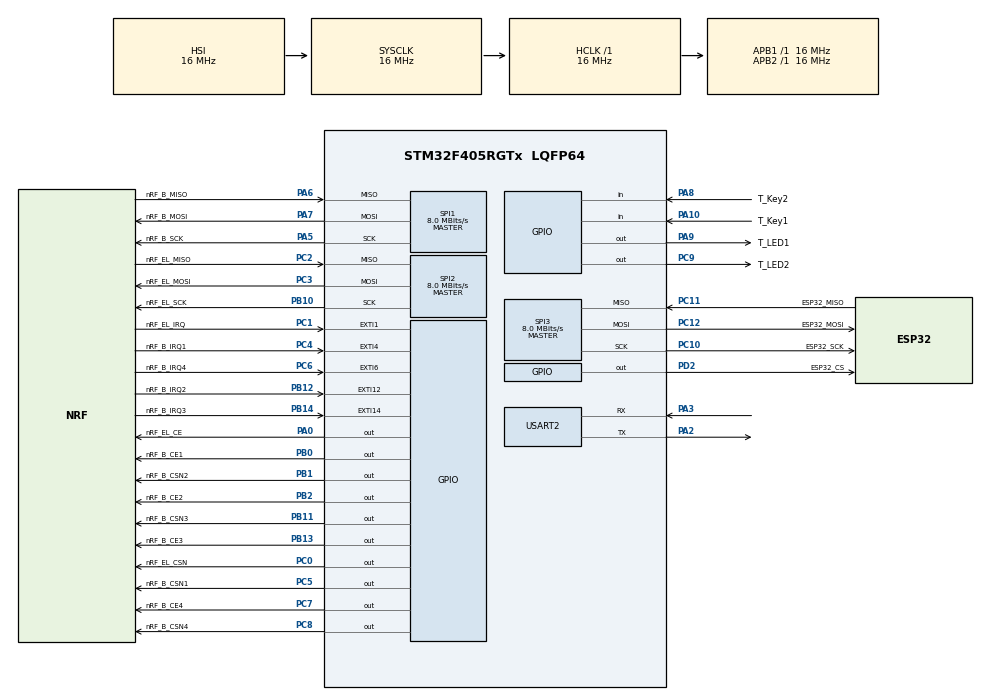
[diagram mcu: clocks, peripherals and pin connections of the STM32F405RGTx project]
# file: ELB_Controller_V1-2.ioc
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Mcu.Family=STM32F4
Mcu.Name=STM32F405RGTx
Mcu.Package=LQFP64
NVIC.EXTI15_10_IRQn=true\:0\:0\:false\:false\:true\:true\:true\:true
NVIC.EXTI1_IRQn=true\:0\:0\:false\:false\:true\:true\:true\:true
NVIC.EXTI4_IRQn=true\:0\:0\:false\:false\:true\:true\:true\:true
NVIC.EXTI9_5_IRQn=true\:0\:0\:false\:false\:true\:true\:true\:true
NVIC.PriorityGroup=NVIC_PRIORITYGROUP_4
NVIC.SPI3_IRQn=true\:0\:0\:false\:false\:true\:true\:true\:true
PA0-WKUP.GPIO_Label=nRF_EL_CE
PA0-WKUP.GPIO_Speed=GPIO_SPEED_FREQ_HIGH
PA0-WKUP.Signal=GPIO_Output
PA10.GPIO_Label=T_Key1
PA10.GPIO_PuPd=GPIO_PULLDOWN
PA10.Signal=GPIO_Input
PA13.Mode=JTAG_5_pins
PA13.Signal=SYS_JTMS-SWDIO
PA14.Mode=JTAG_5_pins
PA14.Signal=SYS_JTCK-SWCLK
PA15.Mode=JTAG_5_pins
PA15.Signal=SYS_JTDI
PA2.Mode=Asynchronous
PA2.Signal=USART2_TX
PA3.Mode=Asynchronous
PA3.Signal=USART2_RX
PA5.GPIO_Label=nRF_B_SCK
PA5.Mode=Full_Duplex_Master
PA5.Signal=SPI1_SCK
PA6.GPIO_Label=nRF_B_MISO
PA6.Mode=Full_Duplex_Master
PA6.Signal=SPI1_MISO
PA7.GPIO_Label=nRF_B_MOSI
PA7.Mode=Full_Duplex_Master
PA7.Signal=SPI1_MOSI
PA8.GPIO_Label=T_Key2
PA8.GPIO_PuPd=GPIO_PULLDOWN
PA8.Signal=GPIO_Input
PA9.GPIO_Label=T_LED1
PA9.Signal=GPIO_Output
PB0.GPIO_Label=nRF_B_CE1
PB0.GPIO_Speed=GPIO_SPEED_FREQ_HIGH
PB0.Signal=GPIO_Output
PB1.GPIO_Label=nRF_B_CSN2
PB1.GPIO_Speed=GPIO_SPEED_FREQ_HIGH
PB1.PinState=GPIO_PIN_SET
PB1.Signal=GPIO_Output
PB10.GPIO_Label=nRF_EL_SCK
PB10.Mode=Full_Duplex_Master
PB10.Signal=SPI2_SCK
PB11.GPIO_Label=nRF_B_CSN3
PB11.GPIO_Speed=GPIO_SPEED_FREQ_HIGH
PB11.PinState=GPIO_PIN_SET
PB11.Signal=GPIO_Output
PB12.GPIO_Label=nRF_B_IRQ2
PB12.GPIO_ModeDefaultEXTI=GPIO_MODE_IT_FALLING
PB12.Signal=GPXTI12
PB13.GPIO_Label=nRF_B_CE3
PB13.GPIO_Speed=GPIO_SPEED_FREQ_HIGH
PB13.PinState=GPIO_PIN_RESET
PB13.Signal=GPIO_Output
PB14.GPIO_Label=nRF_B_IRQ3
PB14.GPIO_ModeDefaultEXTI=GPIO_MODE_IT_FALLING
PB14.Signal=GPXTI14
PB2.GPIO_Label=nRF_B_CE2
PB2.GPIO_Speed=GPIO_SPEED_FREQ_HIGH
PB2.Signal=GPIO_Output
PB3.Mode=JTAG_5_pins
PB3.Signal=SYS_JTDO-SWO
PB4.Mode=JTAG_5_pins
PB4.Signal=SYS_JTRST
PC0.GPIO_Label=nRF_EL_CSN
PC0.GPIO_Speed=GPIO_SPEED_FREQ_HIGH
PC0.PinState=GPIO_PIN_SET
PC0.Signal=GPIO_Output
PC1.GPIO_Label=nRF_EL_IRQ
PC1.GPIO_ModeDefaultEXTI=GPIO_MODE_IT_FALLING
PC1.Signal=GPXTI1
PC10.GPIO_Label=ESP32_SCK
PC10.Mode=Full_Duplex_Master
PC10.Signal=SPI3_SCK
PC11.GPIO_Label=ESP32_MISO
PC11.Mode=Full_Duplex_Master
PC11.Signal=SPI3_MISO
PC12.GPIO_Label=ESP32_MOSI
PC12.Mode=Full_Duplex_Master
PC12.Signal=SPI3_MOSI
PC2.GPIO_Label=nRF_EL_MISO
PC2.Mode=Full_Duplex_Master
PC2.Signal=SPI2_MISO
PC3.GPIO_Label=nRF_EL_MOSI
PC3.Mode=Full_Duplex_Master
PC3.Signal=SPI2_MOSI
PC4.GPIO_Label=nRF_B_IRQ1
PC4.GPIO_ModeDefaultEXTI=GPIO_MODE_IT_FALLING
PC4.Signal=GPXTI4
PC5.GPIO_Label=nRF_B_CSN1
PC5.GPIO_Speed=GPIO_SPEED_FREQ_HIGH
PC5.PinState=GPIO_PIN_SET
PC5.Signal=GPIO_Output
PC6.GPIO_Label=nRF_B_IRQ4
PC6.GPIO_ModeDefaultEXTI=GPIO_MODE_IT_FALLING
PC6.Signal=GPXTI6
PC7.GPIO_Label=nRF_B_CE4
PC7.GPIO_Speed=GPIO_SPEED_FREQ_HIGH
PC7.Signal=GPIO_Output
PC8.GPIO_Label=nRF_B_CSN4
PC8.GPIO_Speed=GPIO_SPEED_FREQ_HIGH
PC8.PinState=GPIO_PIN_SET
PC8.Signal=GPIO_Output
PC9.GPIO_Label=T_LED2
PC9.Signal=GPIO_Output
PD2.GPIO_Label=ESP32_CS
PD2.GPIO_Speed=GPIO_SPEED_FREQ_HIGH
PD2.Signal=GPIO_Output
PH0-OSC_IN.Mode=HSE-External-Oscillator
PH0-OSC_IN.Signal=RCC_OSC_IN
PH1-OSC_OUT.Mode=HSE-External-Oscillator
PH1-OSC_OUT.Signal=RCC_OSC_OUT
ProjectManager.HeapSize=0x200
ProjectManager.StackSize=0x400
ProjectManager.TargetToolchain=STM32CubeIDE
RCC.AHBFreq_Value=16000000
RCC.APB1Freq_Value=16000000
RCC.APB2Freq_Value=16000000
RCC.CortexFreq_Value=16000000
RCC.HSE_VALUE=25000000
RCC.HSI_VALUE=16000000
RCC.LSE_VALUE=32768
RCC.SYSCLKFreq_VALUE=16000000
RCC.VCOOutputFreq_Value=192000000
SPI1.CalculateBaudRate=8.0 MBits/s
SPI1.Direction=SPI_DIRECTION_2LINES
SPI1.Mode=SPI_MODE_MASTER
SPI1.VirtualType=VM_MASTER
SPI2.CalculateBaudRate=8.0 MBits/s
SPI2.Direction=SPI_DIRECTION_2LINES
SPI2.Mode=SPI_MODE_MASTER
SPI2.VirtualType=VM_MASTER
SPI3.CalculateBaudRate=8.0 MBits/s
SPI3.Direction=SPI_DIRECTION_2LINES
SPI3.Mode=SPI_MODE_MASTER
SPI3.VirtualType=VM_MASTER
USART2.VirtualMode=VM_ASYNC
board=custom

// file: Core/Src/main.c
/* USER CODE BEGIN Header */
/**
  ******************************************************************************
  * @file           : main.c
  * @brief          : Main program body
  ******************************************************************************
  * @attention
  *
  * Copyright (c) 2023 STMicroelectronics.
  * All rights reserved.
  *
  * This software is licensed under terms that can be found in the LICENSE file
  * in the root directory of this software component.
  * If no LICENSE file comes with this software, it is provided AS-IS.
  *
  ******************************************************************************
  */
/* USER CODE END Header */
#include "main.h"

/* USER CODE BEGIN Includes */
#include "nrf24_ELBC.h"
#include <string.h>
#include <stdio.h>
/* USER CODE END Includes */

SPI_HandleTypeDef Button_hspi1;
SPI_HandleTypeDef EL_hspi2;
SPI_HandleTypeDef ESP32_hspi3;

UART_HandleTypeDef huart2;

void SystemClock_Config(void);
static void MX_GPIO_Init(void);
static void MX_SPI1_Init(void);
static void MX_SPI2_Init(void);
static void MX_SPI3_Init(void);
static void MX_USART2_UART_Init(void);
/* USER CODE BEGIN PFP */
void EdgeLED_Color(uint8_t Button_Number, uint8_t Green, uint8_t Red, uint8_t Blue, uint8_t *Packet);

/* USER CODE END PFP */

/* USER CODE BEGIN 0 */

uint8_t Config_table[38][4] = {
		//ID,Channel,Pipe,Module
		{ 1,  100, 0, 1 },
		{ 2,  100, 1, 1 },
		{ 3,  100, 2, 1 },
		{ 4,  100, 3, 1 },
		{ 5,  100, 4, 1 },
		{ 6,  100, 5, 1 },
		{ 7,  101, 0, 2 },
		{ 8,  101, 1, 2 },
		{ 9,  101, 2, 2 },
		{ 10, 101, 3, 2 },
		{ 11, 101, 4, 2 },
		{ 12, 101, 5, 2 },
		{ 13, 102, 0, 3 },
		{ 14, 102, 1, 3 },
		{ 15, 102, 2, 3 },
		{ 16, 102, 3, 3 },
		{ 17, 102, 4, 3 },
		{ 18, 102, 5, 3 },
		{ 19, 103, 0, 4 },
		{ 20, 103, 1, 4 },
		{ 21, 103, 2, 4 },
		{ 22, 103, 3, 4 },
		{ 23, 103, 4, 4 },
		{ 24, 103, 5, 4 },
		{ 25, 104, 0, 1 },
		{ 26, 104, 1, 1 },
		{ 27, 104, 2, 1 },
		{ 28, 104, 3, 1 },
		{ 29, 104, 5, 1 },
		{ 30, 104, 0, 1 },
		{ 31, 105, 1, 2 },
		{ 32, 105, 2, 2 },
		{ 33, 105, 3, 2 },
		{ 34, 105, 4, 2 },
		{ 35, 105, 0, 2 },
		{ 36, 105, 1, 2 },
		{ 37, 106, 2, 3 },
		{ 38, 106, 3, 3 }
};

uint8_t Module1_Packet[6][16];
uint8_t Module2_Packet[6][16];
uint8_t Module3_Packet[6][16];
uint8_t Module4_Packet[6][16];
uint8_t Button_Packet_Size = 16;
uint8_t EdgeLED_Packet[20];
uint8_t EdgeLED_Packet_Size = 20;
uint8_t ESP32_Packet[8];
uint8_t ESP32_Packet_Size = 8;

uint8_t TxAddr_B_Module1[5] = {0x00,0x34,0x36,0x52,0x53};
uint8_t RxAddr_B_Module1[5] = {0x00,0x34,0x36,0x52,0x53};

uint8_t TxAddr_B_Module2[5] = {0x00,0x34,0x36,0x52,0x53};
uint8_t RxAddr_B_Module2[5] = {0x00,0x34,0x36,0x52,0x53};

uint8_t TxAddr_B_Module3[5] = {0x00,0x34,0x36,0x52,0x53};
uint8_t RxAddr_B_Module3[5] = {0x00,0x34,0x36,0x52,0x53};

uint8_t TxAddr_B_Module4[5] = {0x00,0x34,0x36,0x52,0x53};
uint8_t RxAddr_B_Module4[5] = {0x00,0x34,0x36,0x52,0x53};

uint8_t TxAddr_EL_Module[5] = {0x00,0x4C,0x45,0x52,0x53};
uint8_t RxAddr_EL_Module[5] = {0x00,0x4C,0x45,0x52,0x53};

uint8_t RF_Channel_Module1 = 0;
uint8_t RF_Channel_Module2 = 0;
uint8_t RF_Channel_Module3 = 0;
uint8_t RF_Channel_Module4 = 0;
uint8_t RF_Channel_EL_Module = 1;
uint8_t Uart_Cmd = 0;
uint8_t Temp10 = 0;
uint8_t Pipe_Num=0;

uint8_t Key_Pressed=0;

uint8_t Data_In_Module1 = 0;
uint8_t Data_In_Module2 = 0;
uint8_t Data_In_Module3 = 0;
uint8_t Data_In_Module4 = 0;

uint8_t Module1_Button_Number=0;
uint8_t Module2_Button_Number=0;
uint8_t Module3_Button_Number=0;
uint8_t Module4_Button_Number=0;

uint8_t Payload_available = 0;
uint8_t Module1_Packet_Count = 0;
uint8_t Module2_Packet_Count = 0;
uint8_t Module3_Packet_Count = 0;
uint8_t Module4_Packet_Count = 0;
uint8_t temp,temp2;
uint8_t Rec_Button_Number = 255;

#ifdef Timing_Test
uint32_t interrupt_time1 = 0;
uint32_t interrupt_time2 = 0;
uint32_t time1 = 0;
uint32_t time2 = 0;
uint32_t time3 = 0;
uint32_t time4 = 0;
uint32_t time_2_1 = 0;
uint32_t time_3_2 = 0;
uint32_t key1_time1 = 0;
uint32_t key1_time2 = 0;
uint32_t key2_time1 = 0;
uint32_t key2_time2 = 0;
uint32_t key3_time1 = 0;
uint32_t key3_time2 = 0;
uint32_t key4_time1 = 0;
uint32_t key4_time2 = 0;
uint32_t key1_time = 0;
uint32_t key2_time = 0;
uint32_t key3_time = 0;
uint32_t key4_time = 0;
uint32_t interrupt_time = 0;
uint32_t time_total = 0;
uint32_t ADC_time1 = 0;
uint32_t ADC_time2 = 0;
uint32_t interrupt_counter = 0;
#endif

/*
void HAL_SPI_RxCpltCallback(SPI_HandleTypeDef *hspi)
{
  // This is the interrupt callback function for SPI receive complete event
  // It will be called whenever new data is received

  // Read the received data from the SPI data register
  for (int i = 0; i < 8; i++)
  {
    ESP32_receivedData[i] = HAL_SPI_Receive(&hspi, receivedData, 8, 100);
  }
}
*/

void EdgeLED_Color(uint8_t Button_Number, uint8_t Green, uint8_t Red, uint8_t Blue, uint8_t *Packet)
{
	//Packet[0]=Button_Number;
	Packet[0] = Button_Number;
	Packet[1] = Green;
	Packet[2] = Red;
	Packet[3] = Blue;

	nRF24_Transmit(Sel_EL_Module, Packet, EdgeLED_Packet_Size);
	nRF24_Transmit(Sel_EL_Module, Packet, EdgeLED_Packet_Size);
#ifdef Debug
	nRF24_Transmit_Report(Sel_EL_Module);
#endif
}

//Interrupt handler to check which module has new packet
void HAL_GPIO_EXTI_Callback(uint16_t GPIO_Pin)
{
	interrupt_time1 = HAL_GetTick();
	if (GPIO_Pin == nRF_B_IRQ1_Pin)
	{

#ifdef Debug
		HAL_UART_Transmit(&huart2, (uint8_t *)"Data received in Button module1\n\n",33, HAL_MAX_DELAY);
#endif
		Data_In_Module1 = 1;
	}
	if (GPIO_Pin == nRF_B_IRQ2_Pin)
	{
#ifdef Debug
		HAL_UART_Transmit(&huart2, (uint8_t *)"Data received in Button module2\n\n",33, HAL_MAX_DELAY);
#endif
		Data_In_Module2 = 1;
	  }
	if (GPIO_Pin == nRF_B_IRQ3_Pin)
	{
#ifdef Debug
	    HAL_UART_Transmit(&huart2, (uint8_t *)"Data received in Button module3\n\n",33, HAL_MAX_DELAY);
#endif
		Data_In_Module3 = 1;
	}
	if (GPIO_Pin == nRF_B_IRQ4_Pin)
	{
#ifdef Debug
		HAL_UART_Transmit(&huart2, (uint8_t *)"Data received in Button module4\n\n",33, HAL_MAX_DELAY);
#endif
		Data_In_Module4 = 1;
	}
	interrupt_time2 = HAL_GetTick();
}

/* USER CODE END 0 */

int main(void)
{

  /* MCU Configuration--------------------------------------------------------*/

  /* Reset of all peripherals, Initializes the Flash interface and the Systick. */
  HAL_Init();

  /* Configure the system clock */
  SystemClock_Config();

  /* Initialize all configured peripherals */
  MX_GPIO_Init();
  MX_SPI1_Init();
  MX_SPI2_Init();
  MX_SPI3_Init();
  MX_USART2_UART_Init();
  /* USER CODE BEGIN 2 */

  //RF Modules address and frequency channel configuration
  TxAddr_B_Module1[0] = Config_table[0][0];
  RxAddr_B_Module1[0] = Config_table[0][0];
  TxAddr_B_Module2[0] = Config_table[6][0];
  RxAddr_B_Module2[0] = Config_table[6][0];
  TxAddr_B_Module3[0] = Config_table[12][0];
  RxAddr_B_Module3[0] = Config_table[12][0];
  TxAddr_B_Module4[0] = Config_table[18][0];
  RxAddr_B_Module4[0] = Config_table[18][0];
  RF_Channel_Module1 = Config_table[0][1];
  RF_Channel_Module2 = Config_table[6][1];
  RF_Channel_Module3 = Config_table[12][1];
  RF_Channel_Module4 = Config_table[18][1];

  nRF24_Reset(Sel_B_Module1,nRF24_REG_STATUS);
  nRF24_Reset(Sel_B_Module2,nRF24_REG_STATUS);
  nRF24_Reset(Sel_B_Module3,nRF24_REG_STATUS);
  nRF24_Reset(Sel_B_Module4,nRF24_REG_STATUS);
  nRF24_Reset(Sel_EL_Module,nRF24_REG_STATUS);

  nRF24_Module_Setup(Sel_B_Module1, Receiver_Mode_noAA_noCRC,
		  RF_Channel_Module1, TxAddr_B_Module1, RxAddr_B_Module1,
		  MBPS1_0dBm, Button_Packet_Size);
  nRF24_Power(Sel_B_Module1, Power_Up);
  nRF24_CE_Enable(Sel_B_Module1);
  nRF24_Module_Setup(Sel_B_Module2, Receiver_Mode_noAA_noCRC,
		  RF_Channel_Module2, TxAddr_B_Module2, RxAddr_B_Module2,
		  MBPS1_0dBm, Button_Packet_Size);
  nRF24_Power(Sel_B_Module2, Power_Up);
  nRF24_CE_Enable(Sel_B_Module2);
  nRF24_Module_Setup(Sel_B_Module3, Receiver_Mode_noAA_noCRC,
		  RF_Channel_Module3, TxAddr_B_Module3, RxAddr_B_Module3,
		  MBPS1_0dBm, Button_Packet_Size);
  nRF24_Power(Sel_B_Module3, Power_Up);
  nRF24_CE_Enable(Sel_B_Module3);
  nRF24_Module_Setup(Sel_B_Module4, Receiver_Mode_noAA_noCRC,
		  RF_Channel_Module4, TxAddr_B_Module4, RxAddr_B_Module4,
		  MBPS1_0dBm, Button_Packet_Size);
  nRF24_Power(Sel_B_Module4, Power_Up);
  nRF24_CE_Enable(Sel_B_Module4);
  nRF24_Module_Setup(Sel_EL_Module, Transmitter_Mode_noAA_noCRC,
		  RF_Channel_EL_Module, TxAddr_EL_Module, RxAddr_EL_Module,
		  MBPS1_0dBm, EdgeLED_Packet_Size);
  nRF24_Power(Sel_EL_Module, Power_Up);
  nRF24_CE_Enable(Sel_EL_Module);

#ifdef Debug
  nRF24_Register_Display(Sel_B_Module1);
  nRF24_Register_Display(Sel_B_Module2);
  nRF24_Register_Display(Sel_B_Module3);
  nRF24_Register_Display(Sel_B_Module4);
  nRF24_Register_Display(Sel_EL_Module);
#endif

  /* USER CODE END 2 */

  /* Infinite loop */
  /* USER CODE BEGIN WHILE */
  while (1)
  {
#ifdef Timing_Test
	  time1 = HAL_GetTick();
#endif
	  if(HAL_UART_Receive(&huart2, &Uart_Cmd, 1, 10) == HAL_OK)
	  {
		  if(Uart_Cmd == 'W')
		  {
			  EdgeLED_Color(1, 255, 255, 255, EdgeLED_Packet);
			  HAL_UART_Transmit(&huart2, (uint8_t*)"\nWHITE\n",7, 10);
		  }
		  if(Uart_Cmd == 'R')
		  {
			  EdgeLED_Color(1, 0, 255, 0, EdgeLED_Packet);
			  HAL_UART_Transmit(&huart2, (uint8_t*)"\nRED\n",5, 10);
		  }
		  if(Uart_Cmd == 'B')
		  {
			  EdgeLED_Color(1, 0, 0, 255, EdgeLED_Packet);
			  HAL_UART_Transmit(&huart2, (uint8_t*)"\nBLUE\n",6, 10);
		  }
		  if(Uart_Cmd == 'G')
		  {
			  EdgeLED_Color(1, 255, 0, 0, EdgeLED_Packet);
			  HAL_UART_Transmit(&huart2, (uint8_t*)"\nGREEN\n",7, 10);
		  }
	  }
#ifdef Timing_Test
	  time2 = HAL_GetTick();
#endif
	  if (__HAL_SPI_GET_FLAG(&ESP32_hspi3, SPI_FLAG_RXNE))
	  {
	      // Read the received data from the SPI data register
		  HAL_SPI_Receive(&ESP32_hspi3, ESP32_Packet, ESP32_Packet_Size, 100);
	  }
#ifdef Timing_Test
	  time3 = HAL_GetTick();
#endif

	  if (Data_In_Module1 == 1)
	  {
		  key1_time1 = HAL_GetTick();
#ifdef Debug
		  nRF24_Receive_Report(Sel_B_Module1);
#endif
		  Module1_Packet_Count = 0;

		  uint8_t Data_In_RX_FIFO = 1;
		  //Reading the received packet in FIFO
		  //Checking the status of first bit of FIFO_STATUS
		  while(Data_In_RX_FIFO == 1)
		  {
			  uint8_t FIFO_Reg = nRF24_ReadReg(Sel_B_Module1, nRF24_REG_FIFO_STATUS);
			  if((FIFO_Reg & 1) == 0)
			  {
				  nRF24_Receive(Sel_B_Module1, Module1_Packet[Module1_Packet_Count], Button_Packet_Size);
				  Module1_Packet_Count++;
			  }
			  else
			  {
				  Data_In_RX_FIFO = 0;
			  }
		  }
		  //Printing the received packets
#ifdef Debug
		  HAL_UART_Transmit(&huart2, (uint8_t*)"**********************\n",23, 100);
		  HAL_UART_Transmit(&huart2, (uint8_t*)"Module1 Data:\n",13, 1000);
		  for (uint8_t i = 0; i < Module1_Packet_Count; i++)
		  {
			  HAL_UART_Transmit(&huart2, (uint8_t*)"*****\n", 6, 1000);
			  // Convert RxData elements to char and print
			  for (uint8_t j = 0; j < Button_Packet_Size; j++)
			  {
			      char buffer[4];  // Buffer to hold the converted string
			      sprintf(buffer, "%d", Module1_Packet[i][j]);  // Convert integer to string

			      HAL_UART_Transmit(&huart2, (uint8_t*)buffer, strlen(buffer), 1000);
			      HAL_UART_Transmit(&huart2, (uint8_t*)"\n", 1, 1000);
			  }
		  }
		  HAL_UART_Transmit(&huart2, (uint8_t*)"\n**********************\n\n",25, 100);
#endif

		  for (uint8_t i = 0; i < Module1_Packet_Count; i++)
		  {
			  //Checking which Button has sent the data
			  Rec_Button_Number = Module1_Packet[i][0];

			  //Checking which key on the button has been pressed
			  Key_Pressed = Module1_Packet[i][1];

		      //Sending Color to the specified EdgeLED based on the key pressed
			  switch(Key_Pressed)
			  {
				case 1:
					EdgeLED_Color(Rec_Button_Number, 255, 255, 255, EdgeLED_Packet);
					break;
				case 2:
				    EdgeLED_Color(Rec_Button_Number, 255,   0,   0, EdgeLED_Packet);
					break;
				case 3:
					EdgeLED_Color(Rec_Button_Number,   0, 255,   0, EdgeLED_Packet);
					break;
				case 4:
				    EdgeLED_Color(Rec_Button_Number,   0,   0, 255, EdgeLED_Packet);
					break;
				default:
				    break;
			  }

			  Rec_Button_Number = 255;
			  Key_Pressed = 255;
		  }

		  Data_In_Module1 = 0;
#ifdef Timing_Test
		  key1_time2 = HAL_GetTick();

		  time_2_1 = time2 - time1;
		  time_3_2 = time3 - time2;
		  interrupt_time = interrupt_time2 - interrupt_time1;
		  key1_time = key1_time2 - key1_time1;
		  key1_time1 = 0;
		  key1_time2 = 0;

		  char time_buffer[10];  // Buffer to hold the converted string

		  sprintf(time_buffer, "%d", time_2_1);  // Convert integer to string
		  HAL_UART_Transmit(&huart2, (uint8_t*)"time_2_1: ", 10, 1000);
		  HAL_UART_Transmit(&huart2, (uint8_t*)time_buffer, strlen(time_buffer), 1000);
		  HAL_UART_Transmit(&huart2, (uint8_t*)"\n", 1, 1000);

		  sprintf(time_buffer, "%d", time_3_2);  // Convert integer to string
		  HAL_UART_Transmit(&huart2, (uint8_t*)"time_3_2: ", 10, 1000);
		  HAL_UART_Transmit(&huart2, (uint8_t*)time_buffer, strlen(time_buffer), 1000);
		  HAL_UART_Transmit(&huart2, (uint8_t*)"\n", 1, 1000);

		  sprintf(time_buffer, "%d", key1_time);  // Convert integer to string
		  HAL_UART_Transmit(&huart2, (uint8_t*)"key1_time: ", 11, 1000);
		  HAL_UART_Transmit(&huart2, (uint8_t*)time_buffer, strlen(time_buffer), 1000);
		  HAL_UART_Transmit(&huart2, (uint8_t*)"\n", 1, 1000);

		  sprintf(time_buffer, "%d", interrupt_time);  // Convert integer to string
		  HAL_UART_Transmit(&huart2, (uint8_t*)"interrupt_time: ", 16, 1000);
		  HAL_UART_Transmit(&huart2, (uint8_t*)time_buffer, strlen(time_buffer), 1000);
		  HAL_UART_Transmit(&huart2, (uint8_t*)"\n", 1, 1000);
#endif
	  }

	  if (Data_In_Module2 == 1)
	  {
#ifdef Debug
		  nRF24_Receive_Report(Sel_B_Module2);
#endif
		  Module2_Packet_Count = 0;

		  uint8_t Data_In_RX_FIFO = 1;
		  //Reading the received packet in FIFO
		  //Checking the status of first bit of FIFO_STATUS
		  while(Data_In_RX_FIFO == 1)
		  {
			  uint8_t FIFO_Reg = nRF24_ReadReg(Sel_B_Module2, nRF24_REG_FIFO_STATUS);
			  if((FIFO_Reg & 1) == 0)
			  {
				  nRF24_Receive(Sel_B_Module2, Module2_Packet[Module2_Packet_Count], Button_Packet_Size);
				  Module2_Packet_Count++;
			  }
			  else
			  {
				  Data_In_RX_FIFO = 0;
			  }
		  }
		  //Printing the received packets
#ifdef Debug
		  HAL_UART_Transmit(&huart2, (uint8_t*)"**********************\n",23, 100);
		  HAL_UART_Transmit(&huart2, (uint8_t*)"Module2 Data:\n",13, 1000);
		  for (uint8_t i = 0; i < Module2_Packet_Count; i++)
		  {
			  HAL_UART_Transmit(&huart2, (uint8_t*)"*****\n", 6, 1000);
			  // Convert RxData elements to char and print
			  for (uint8_t j = 0; j < Button_Packet_Size; j++)
			  {
			      char buffer[4];  // Buffer to hold the converted string
			      sprintf(buffer, "%d", Module2_Packet[i][j]);  // Convert integer to string

			      HAL_UART_Transmit(&huart2, (uint8_t*)buffer, strlen(buffer), 1000);
			      HAL_UART_Transmit(&huart2, (uint8_t*)"\n", 1, 1000);
			  }
		  }
		  HAL_UART_Transmit(&huart2, (uint8_t*)"\n**********************\n\n",25, 100);
#endif

		  for (uint8_t i = 0; i < Module2_Packet_Count; i++)
		  {
			  //Checking which Button has sent the data
			  Rec_Button_Number = Module2_Packet[i][0];

			  //Checking which key on the button has been pressed
			  Key_Pressed = Module2_Packet[i][1];

		      //Sending Color to the specified EdgeLED based on the key pressed
			  switch(Key_Pressed)
			  {
				case 1:
					EdgeLED_Color(Rec_Button_Number, 255, 255, 255, EdgeLED_Packet);
					break;
				case 2:
				    EdgeLED_Color(Rec_Button_Number, 255,   0,   0, EdgeLED_Packet);
					break;
				case 3:
					EdgeLED_Color(Rec_Button_Number,   0, 255,   0, EdgeLED_Packet);
					break;
				case 4:
				    EdgeLED_Color(Rec_Button_Number,   0,   0, 255, EdgeLED_Packet);
					break;
				default:
				    break;
			  }

			  Rec_Button_Number = 255;
			  Key_Pressed = 255;
		  }

		  Data_In_Module2 = 0;

	  }
	  if (Data_In_Module3 == 1)
	  {
#ifdef Debug
		  nRF24_Receive_Report(Sel_B_Module3);
#endif
		  Module3_Packet_Count = 0;

		  uint8_t Data_In_RX_FIFO = 1;
		  //Reading the received packet in FIFO
		  //Checking the status of first bit of FIFO_STATUS
		  while(Data_In_RX_FIFO == 1)
		  {
			  uint8_t FIFO_Reg = nRF24_ReadReg(Sel_B_Module3, nRF24_REG_FIFO_STATUS);
			  if((FIFO_Reg & 1) == 0)
			  {
				  nRF24_Receive(Sel_B_Module3, Module3_Packet[Module3_Packet_Count], Button_Packet_Size);
				  Module3_Packet_Count++;
			  }
			  else
			  {
				  Data_In_RX_FIFO = 0;
			  }
		  }
		  //Printing the received packets
#ifdef Debug
		  HAL_UART_Transmit(&huart2, (uint8_t*)"**********************\n",23, 100);
		  HAL_UART_Transmit(&huart2, (uint8_t*)"Module3 Data:\n",13, 1000);
		  for (uint8_t i = 0; i < Module3_Packet_Count; i++)
		  {
			  HAL_UART_Transmit(&huart2, (uint8_t*)"*****\n", 6, 1000);
			  // Convert RxData elements to char and print
			  for (uint8_t j = 0; j < Button_Packet_Size; j++)
			  {
			      char buffer[4];  // Buffer to hold the converted string
			      sprintf(buffer, "%d", Module3_Packet[i][j]);  // Convert integer to string

			      HAL_UART_Transmit(&huart2, (uint8_t*)buffer, strlen(buffer), 1000);
			      HAL_UART_Transmit(&huart2, (uint8_t*)"\n", 1, 1000);
			  }
		  }
		  HAL_UART_Transmit(&huart2, (uint8_t*)"\n**********************\n\n",25, 100);
#endif

		  for (uint8_t i = 0; i < Module3_Packet_Count; i++)
		  {
			  //Checking which Button has sent the data
			  Rec_Button_Number = Module3_Packet[i][0];

			  //Checking which key on the button has been pressed
			  Key_Pressed = Module3_Packet[i][1];

		      //Sending Color to the specified EdgeLED based on the key pressed
			  switch(Key_Pressed)
			  {
				case 1:
					EdgeLED_Color(Rec_Button_Number, 255, 255, 255, EdgeLED_Packet);
					break;
				case 2:
				    EdgeLED_Color(Rec_Button_Number, 255,   0,   0, EdgeLED_Packet);
					break;
				case 3:
					EdgeLED_Color(Rec_Button_Number,   0, 255,   0, EdgeLED_Packet);
					break;
				case 4:
				    EdgeLED_Color(Rec_Button_Number,   0,   0, 255, EdgeLED_Packet);
					break;
				default:
				    break;
			  }

			  Rec_Button_Number = 255;
			  Key_Pressed = 255;
		  }

		  Data_In_Module3 = 0;

	  }
	  if (Data_In_Module4 == 1)
	  {
#ifdef Debug
		  nRF24_Receive_Report(Sel_B_Module4);
#endif
		  Module4_Packet_Count = 0;

		  uint8_t Data_In_RX_FIFO = 1;
		  //Reading the received packet in FIFO
		  //Checking the status of first bit of FIFO_STATUS
		  while(Data_In_RX_FIFO == 1)
		  {
			  uint8_t FIFO_Reg = nRF24_ReadReg(Sel_B_Module4, nRF24_REG_FIFO_STATUS);
			  if((FIFO_Reg & 1) == 0)
			  {
				  nRF24_Receive(Sel_B_Module4, Module4_Packet[Module4_Packet_Count], Button_Packet_Size);
				  Module4_Packet_Count++;
			  }
			  else
			  {
				  Data_In_RX_FIFO = 0;
			  }
		  }
		  //Printing the received packets
#ifdef Debug
		  HAL_UART_Transmit(&huart2, (uint8_t*)"**********************\n",23, 100);
		  HAL_UART_Transmit(&huart2, (uint8_t*)"Module4 Data:\n",13, 1000);
		  for (uint8_t i = 0; i < Module4_Packet_Count; i++)
		  {
			  HAL_UART_Transmit(&huart2, (uint8_t*)"*****\n", 6, 1000);
			  // Convert RxData elements to char and print
			  for (uint8_t j = 0; j < Button_Packet_Size; j++)
			  {
			      char buffer[4];  // Buffer to hold the converted string
			      sprintf(buffer, "%d", Module4_Packet[i][j]);  // Convert integer to string

			      HAL_UART_Transmit(&huart2, (uint8_t*)buffer, strlen(buffer), 1000);
			      HAL_UART_Transmit(&huart2, (uint8_t*)"\n", 1, 1000);
			  }
		  }
		  HAL_UART_Transmit(&huart2, (uint8_t*)"\n**********************\n\n",25, 100);
#endif

		  for (uint8_t i = 0; i < Module4_Packet_Count; i++)
		  {
			  //Checking which Button has sent the data
			  Rec_Button_Number = Module4_Packet[i][0];

			  //Checking which key on the button has been pressed
			  Key_Pressed = Module4_Packet[i][1];

		      //Sending Color to the specified EdgeLED based on the key pressed
			  switch(Key_Pressed)
			  {
				case 1:
					EdgeLED_Color(Rec_Button_Number, 255, 255, 255, EdgeLED_Packet);
					break;
				case 2:
				    EdgeLED_Color(Rec_Button_Number, 255,   0,   0, EdgeLED_Packet);
					break;
				case 3:
					EdgeLED_Color(Rec_Button_Number,   0, 255,   0, EdgeLED_Packet);
					break;
				case 4:
				    EdgeLED_Color(Rec_Button_Number,   0,   0, 255, EdgeLED_Packet);
					break;
				default:
				    break;
			  }

			  Rec_Button_Number = 255;
			  Key_Pressed = 255;
		  }

		  Data_In_Module4 = 0;

	  }

    /* USER CODE END WHILE */

  }
}

void SystemClock_Config(void)
{
  RCC_OscInitTypeDef RCC_OscInitStruct = {0};
  RCC_ClkInitTypeDef RCC_ClkInitStruct = {0};

  /** Configure the main internal regulator output voltage
  */
  __HAL_RCC_PWR_CLK_ENABLE();
  __HAL_PWR_VOLTAGESCALING_CONFIG(PWR_REGULATOR_VOLTAGE_SCALE1);

  /** Initializes the RCC Oscillators according to the specified parameters
  * in the RCC_OscInitTypeDef structure.
  */
  RCC_OscInitStruct.OscillatorType = RCC_OSCILLATORTYPE_HSI;
  RCC_OscInitStruct.HSIState = RCC_HSI_ON;
  RCC_OscInitStruct.HSICalibrationValue = RCC_HSICALIBRATION_DEFAULT;
  RCC_OscInitStruct.PLL.PLLState = RCC_PLL_NONE;
  if (HAL_RCC_OscConfig(&RCC_OscInitStruct) != HAL_OK)
  {
    Error_Handler();
  }

  /** Initializes the CPU, AHB and APB buses clocks
  */
  RCC_ClkInitStruct.ClockType = RCC_CLOCKTYPE_HCLK|RCC_CLOCKTYPE_SYSCLK
                              |RCC_CLOCKTYPE_PCLK1|RCC_CLOCKTYPE_PCLK2;
  RCC_ClkInitStruct.SYSCLKSource = RCC_SYSCLKSOURCE_HSI;
  RCC_ClkInitStruct.AHBCLKDivider = RCC_SYSCLK_DIV1;
  RCC_ClkInitStruct.APB1CLKDivider = RCC_HCLK_DIV1;
  RCC_ClkInitStruct.APB2CLKDivider = RCC_HCLK_DIV1;

  if (HAL_RCC_ClockConfig(&RCC_ClkInitStruct, FLASH_LATENCY_0) != HAL_OK)
  {
    Error_Handler();
  }
}

static void MX_SPI1_Init(void)
{

  /* SPI1 parameter configuration*/
  Button_hspi1.Instance = SPI1;
  Button_hspi1.Init.Mode = SPI_MODE_MASTER;
  Button_hspi1.Init.Direction = SPI_DIRECTION_2LINES;
  Button_hspi1.Init.DataSize = SPI_DATASIZE_8BIT;
  Button_hspi1.Init.CLKPolarity = SPI_POLARITY_LOW;
  Button_hspi1.Init.CLKPhase = SPI_PHASE_1EDGE;
  Button_hspi1.Init.NSS = SPI_NSS_SOFT;
  Button_hspi1.Init.BaudRatePrescaler = SPI_BAUDRATEPRESCALER_2;
  Button_hspi1.Init.FirstBit = SPI_FIRSTBIT_MSB;
  Button_hspi1.Init.TIMode = SPI_TIMODE_DISABLE;
  Button_hspi1.Init.CRCCalculation = SPI_CRCCALCULATION_DISABLE;
  Button_hspi1.Init.CRCPolynomial = 10;
  if (HAL_SPI_Init(&Button_hspi1) != HAL_OK)
  {
    Error_Handler();
  }

}

static void MX_SPI2_Init(void)
{

  /* SPI2 parameter configuration*/
  EL_hspi2.Instance = SPI2;
  EL_hspi2.Init.Mode = SPI_MODE_MASTER;
  EL_hspi2.Init.Direction = SPI_DIRECTION_2LINES;
  EL_hspi2.Init.DataSize = SPI_DATASIZE_8BIT;
  EL_hspi2.Init.CLKPolarity = SPI_POLARITY_LOW;
  EL_hspi2.Init.CLKPhase = SPI_PHASE_1EDGE;
  EL_hspi2.Init.NSS = SPI_NSS_SOFT;
  EL_hspi2.Init.BaudRatePrescaler = SPI_BAUDRATEPRESCALER_2;
  EL_hspi2.Init.FirstBit = SPI_FIRSTBIT_MSB;
  EL_hspi2.Init.TIMode = SPI_TIMODE_DISABLE;
  EL_hspi2.Init.CRCCalculation = SPI_CRCCALCULATION_DISABLE;
  EL_hspi2.Init.CRCPolynomial = 10;
  if (HAL_SPI_Init(&EL_hspi2) != HAL_OK)
  {
    Error_Handler();
  }

}

static void MX_SPI3_Init(void)
{

  /* SPI3 parameter configuration*/
  ESP32_hspi3.Instance = SPI3;
  ESP32_hspi3.Init.Mode = SPI_MODE_MASTER;
  ESP32_hspi3.Init.Direction = SPI_DIRECTION_2LINES;
  ESP32_hspi3.Init.DataSize = SPI_DATASIZE_8BIT;
  ESP32_hspi3.Init.CLKPolarity = SPI_POLARITY_LOW;
  ESP32_hspi3.Init.CLKPhase = SPI_PHASE_1EDGE;
  ESP32_hspi3.Init.NSS = SPI_NSS_SOFT;
  ESP32_hspi3.Init.BaudRatePrescaler = SPI_BAUDRATEPRESCALER_2;
  ESP32_hspi3.Init.FirstBit = SPI_FIRSTBIT_MSB;
  ESP32_hspi3.Init.TIMode = SPI_TIMODE_DISABLE;
  ESP32_hspi3.Init.CRCCalculation = SPI_CRCCALCULATION_DISABLE;
  ESP32_hspi3.Init.CRCPolynomial = 10;
  if (HAL_SPI_Init(&ESP32_hspi3) != HAL_OK)
  {
    Error_Handler();
  }

}

static void MX_USART2_UART_Init(void)
{

  huart2.Instance = USART2;
  huart2.Init.BaudRate = 115200;
  huart2.Init.WordLength = UART_WORDLENGTH_8B;
  huart2.Init.StopBits = UART_STOPBITS_1;
  huart2.Init.Parity = UART_PARITY_NONE;
  huart2.Init.Mode = UART_MODE_TX_RX;
  huart2.Init.HwFlowCtl = UART_HWCONTROL_NONE;
  huart2.Init.OverSampling = UART_OVERSAMPLING_16;
  if (HAL_UART_Init(&huart2) != HAL_OK)
  {
    Error_Handler();
  }

}

static void MX_GPIO_Init(void)
{
  GPIO_InitTypeDef GPIO_InitStruct = {0};

  /* GPIO Ports Clock Enable */
  __HAL_RCC_GPIOH_CLK_ENABLE();
  __HAL_RCC_GPIOC_CLK_ENABLE();
  __HAL_RCC_GPIOA_CLK_ENABLE();
  __HAL_RCC_GPIOB_CLK_ENABLE();
  __HAL_RCC_GPIOD_CLK_ENABLE();

  /*Configure GPIO pin Output Level */
  HAL_GPIO_WritePin(GPIOC, nRF_EL_CSN_Pin|nRF_B_CSN1_Pin|nRF_B_CSN4_Pin, GPIO_PIN_SET);

  /*Configure GPIO pin Output Level */
  HAL_GPIO_WritePin(GPIOA, nRF_EL_CE_Pin|T_LED1_Pin, GPIO_PIN_RESET);

  /*Configure GPIO pin Output Level */
  HAL_GPIO_WritePin(GPIOB, nRF_B_CE1_Pin|nRF_B_CE2_Pin|nRF_B_CE3_Pin, GPIO_PIN_RESET);

  /*Configure GPIO pin Output Level */
  HAL_GPIO_WritePin(GPIOB, nRF_B_CSN2_Pin|nRF_B_CSN3_Pin, GPIO_PIN_SET);

  /*Configure GPIO pin Output Level */
  HAL_GPIO_WritePin(GPIOC, nRF_B_CE4_Pin|T_LED2_Pin, GPIO_PIN_RESET);

  /*Configure GPIO pin Output Level */
  HAL_GPIO_WritePin(ESP32_CS_GPIO_Port, ESP32_CS_Pin, GPIO_PIN_RESET);

  /*Configure GPIO pins : nRF_EL_CSN_Pin nRF_B_CSN1_Pin nRF_B_CE4_Pin nRF_B_CSN4_Pin */
  GPIO_InitStruct.Pin = nRF_EL_CSN_Pin|nRF_B_CSN1_Pin|nRF_B_CE4_Pin|nRF_B_CSN4_Pin;
  GPIO_InitStruct.Mode = GPIO_MODE_OUTPUT_PP;
  GPIO_InitStruct.Pull = GPIO_NOPULL;
  GPIO_InitStruct.Speed = GPIO_SPEED_FREQ_HIGH;
  HAL_GPIO_Init(GPIOC, &GPIO_InitStruct);

  /*Configure GPIO pins : nRF_EL_IRQ_Pin nRF_B_IRQ1_Pin nRF_B_IRQ4_Pin */
  GPIO_InitStruct.Pin = nRF_EL_IRQ_Pin|nRF_B_IRQ1_Pin|nRF_B_IRQ4_Pin;
  GPIO_InitStruct.Mode = GPIO_MODE_IT_FALLING;
  GPIO_InitStruct.Pull = GPIO_NOPULL;
  HAL_GPIO_Init(GPIOC, &GPIO_InitStruct);

  /*Configure GPIO pin : nRF_EL_CE_Pin */
  GPIO_InitStruct.Pin = nRF_EL_CE_Pin;
  GPIO_InitStruct.Mode = GPIO_MODE_OUTPUT_PP;
  GPIO_InitStruct.Pull = GPIO_NOPULL;
  GPIO_InitStruct.Speed = GPIO_SPEED_FREQ_HIGH;
  HAL_GPIO_Init(nRF_EL_CE_GPIO_Port, &GPIO_InitStruct);

  /*Configure GPIO pins : nRF_B_CE1_Pin nRF_B_CSN2_Pin nRF_B_CE2_Pin nRF_B_CSN3_Pin
                           nRF_B_CE3_Pin */
  GPIO_InitStruct.Pin = nRF_B_CE1_Pin|nRF_B_CSN2_Pin|nRF_B_CE2_Pin|nRF_B_CSN3_Pin
                          |nRF_B_CE3_Pin;
  GPIO_InitStruct.Mode = GPIO_MODE_OUTPUT_PP;
  GPIO_InitStruct.Pull = GPIO_NOPULL;
  GPIO_InitStruct.Speed = GPIO_SPEED_FREQ_HIGH;
  HAL_GPIO_Init(GPIOB, &GPIO_InitStruct);

  /*Configure GPIO pins : nRF_B_IRQ2_Pin nRF_B_IRQ3_Pin */
  GPIO_InitStruct.Pin = nRF_B_IRQ2_Pin|nRF_B_IRQ3_Pin;
  GPIO_InitStruct.Mode = GPIO_MODE_IT_FALLING;
  GPIO_InitStruct.Pull = GPIO_NOPULL;
  HAL_GPIO_Init(GPIOB, &GPIO_InitStruct);

  /*Configure GPIO pin : T_LED2_Pin */
  GPIO_InitStruct.Pin = T_LED2_Pin;
  GPIO_InitStruct.Mode = GPIO_MODE_OUTPUT_PP;
  GPIO_InitStruct.Pull = GPIO_NOPULL;
  GPIO_InitStruct.Speed = GPIO_SPEED_FREQ_LOW;
  HAL_GPIO_Init(T_LED2_GPIO_Port, &GPIO_InitStruct);

  /*Configure GPIO pins : T_Key2_Pin T_Key1_Pin */
  GPIO_InitStruct.Pin = T_Key2_Pin|T_Key1_Pin;
  GPIO_InitStruct.Mode = GPIO_MODE_INPUT;
  GPIO_InitStruct.Pull = GPIO_PULLDOWN;
  HAL_GPIO_Init(GPIOA, &GPIO_InitStruct);

  /*Configure GPIO pin : T_LED1_Pin */
  GPIO_InitStruct.Pin = T_LED1_Pin;
  GPIO_InitStruct.Mode = GPIO_MODE_OUTPUT_PP;
  GPIO_InitStruct.Pull = GPIO_NOPULL;
  GPIO_InitStruct.Speed = GPIO_SPEED_FREQ_LOW;
  HAL_GPIO_Init(T_LED1_GPIO_Port, &GPIO_InitStruct);

  /*Configure GPIO pin : ESP32_CS_Pin */
  GPIO_InitStruct.Pin = ESP32_CS_Pin;
  GPIO_InitStruct.Mode = GPIO_MODE_OUTPUT_PP;
  GPIO_InitStruct.Pull = GPIO_NOPULL;
  GPIO_InitStruct.Speed = GPIO_SPEED_FREQ_HIGH;
  HAL_GPIO_Init(ESP32_CS_GPIO_Port, &GPIO_InitStruct);

  /* EXTI interrupt init*/
  HAL_NVIC_SetPriority(EXTI1_IRQn, 0, 0);
  HAL_NVIC_EnableIRQ(EXTI1_IRQn);

  HAL_NVIC_SetPriority(EXTI4_IRQn, 0, 0);
  HAL_NVIC_EnableIRQ(EXTI4_IRQn);

  HAL_NVIC_SetPriority(EXTI9_5_IRQn, 0, 0);
  HAL_NVIC_EnableIRQ(EXTI9_5_IRQn);

  HAL_NVIC_SetPriority(EXTI15_10_IRQn, 0, 0);
  HAL_NVIC_EnableIRQ(EXTI15_10_IRQn);

}

void Error_Handler(void)
{
  __disable_irq();
  while (1)
  {
  }
}
